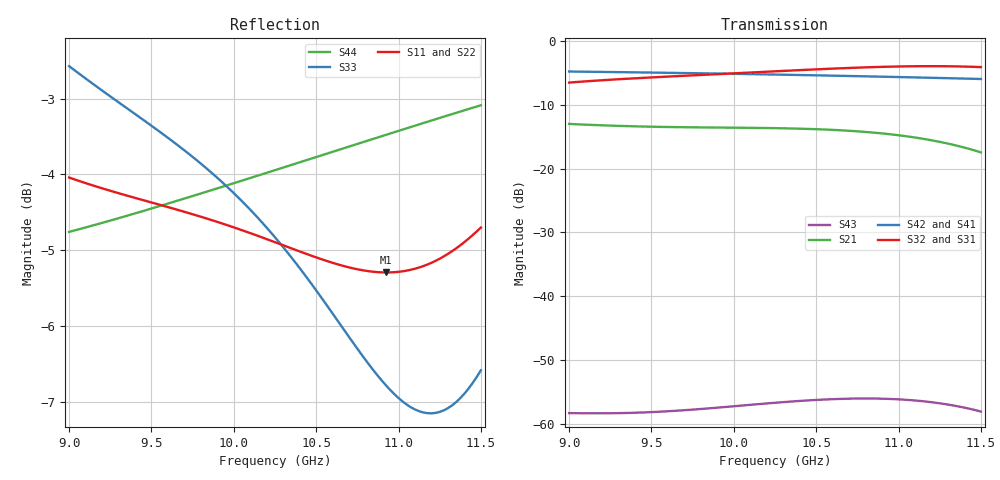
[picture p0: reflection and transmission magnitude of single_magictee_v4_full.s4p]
! Generated from PyAEDT SolutionData; AEDT ExportNetworkData workaround
# GHz S MA R 50
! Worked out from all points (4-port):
!   101 points, 9 GHz to 11.5 GHz, reference 50 ohm
!   strongest paths, dB at 9 GHz, 9.625 GHz, 10.25 GHz, 10.88 GHz, 11.5 GHz:
!     S32: -6.5, -5.5, -4.7, -4.1, -4.1
!     S31: -6.5, -5.5, -4.7, -4.1, -4.1
!     S42: -4.8, -5.0, -5.2, -5.6, -5.9
!     S41: -4.8, -5.0, -5.3, -5.6, -6.0
!     S21: -13.0, -13.5, -13.6, -14.4, -17.4
!     S43: -58.3, -58.0, -56.7, -56.1, -58.1
!   lowest |S11| = -5.3 dB at 10.93 GHz (marker M1), VSWR 3.38, Z = 14.9 - j4.27 ohm
!   |S11| at or under -10 dB: nowhere
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9  0.628 39.9  0.2243 -27.2  0.4725 5.9  0.5762 38.9
   0.2243 -27.2  0.6265 39.9  0.473 5.9  0.5775 -141.2
   0.4725 5.9  0.473 5.9  0.7437 168.0  0.001213 -120.0
   0.5762 38.9  0.5775 -141.2  0.001213 -120.0  0.5783 -163.2
9.325  0.6122 1.1  0.2161 -73.4  0.5041 -52.3  0.5696 2.5
       0.2161 -73.4  0.6107 1.1  0.5046 -52.4  0.5707 -177.6
       0.5041 -52.3  0.5046 -52.4  0.7009 91.5  0.001214 -176.1
       0.5696 2.5  0.5707 -177.6  0.001214 -176.1  0.5915 163.3
9.675  0.5973 -39.3  0.2115 -121.9  0.5324 -112.7  0.5613 -35.4
       0.2115 -121.9  0.5957 -39.1  0.533 -112.7  0.5624 144.5
       0.5324 -112.7  0.533 -112.7  0.6576 12.5  0.001272 125.0
       0.5613 -35.4  0.5624 144.5  0.001272 125.0  0.6071 128.0
10.15  0.5746 -91.7  0.2086 172.5  0.5705 168.0  0.5486 -85.4
       0.2086 172.5  0.5727 -91.5  0.5713 168.0  0.5496 94.5
       0.5705 168.0  0.5713 168.0  0.5901 -91.9  0.001426 43.2
       0.5486 -85.4  0.5496 94.5  0.001426 43.2  0.6301 81.4
10.525  0.5551 -130.7  0.2034 120.5  0.6014 106.0  0.5374 -123.9
        0.2034 120.5  0.5529 -130.5  0.6026 106.0  0.5384 56.0
        0.6014 106.0  0.6026 106.0  0.5246 -175.9  0.001544 -24.7
        0.5374 -123.9  0.5384 56.0  0.001544 -24.7  0.6491 45.4
10.925  0.5438 -169.3  0.1875 64.7  0.6278 39.5  0.5244 -164.3
        0.1875 64.7  0.5411 -169.2  0.6294 39.5  0.5253 15.6
        0.6278 39.5  0.6294 39.5  0.458 87.5  0.00157 -100.1
        0.5244 -164.3  0.5253 15.6  0.00157 -100.1  0.6701 7.5
11.5  0.5821 138.0  0.1342 -12.5  0.6238 -57.9  0.504 138.7
      0.1342 -12.5  0.5797 138.0  0.6255 -57.9  0.5047 -41.4
      0.6238 -57.9  0.6255 -57.9  0.4687 -65.7  0.001248 149.9
      0.504 138.7  0.5047 -41.4  0.001248 149.9  0.7008 -46.2
